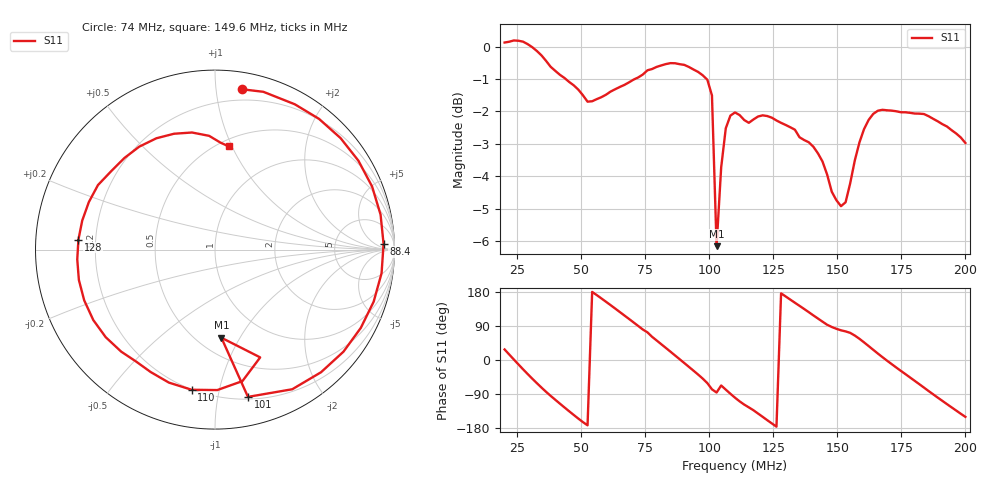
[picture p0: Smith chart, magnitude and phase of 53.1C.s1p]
# HZ S RI R 50
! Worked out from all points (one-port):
!   101 points, 20 MHz to 200 MHz, reference 50 ohm
!   lowest |S11| = -6.2 dB at 102.8 MHz (marker M1), VSWR 2.94, Z = 32.3 - j41.9 ohm
!   |S11| at or under -10 dB: nowhere
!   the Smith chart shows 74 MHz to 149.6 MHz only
!   S11 on the Smith chart (normalised r, x): 74 MHz: 0.12, +1.18; 88.4 MHz: 25, +13; 101 MHz: 0.22, -1.23; 110 MHz: 0.20, -0.83; 128 MHz: 0.13, +0.04; 149.6 MHz: 0.56, +0.97
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2e7  0.8978 0.4731
2.54e7  1 -0.2057
3.26e7  0.4755 -0.8625
3.8e7  -0.0761 -0.9278
4.34e7  -0.5165 -0.7305
4.88e7  -0.7755 -0.3683
5.42e7  -0.8238 0.00398
6.5e7  -0.5167 0.6957
7.4e7  0.1507 0.8932
8.12e7  0.6995 0.6213
8.84e7  0.9392 0.0316
9.56e7  0.7158 -0.5687
1.01e8  0.1837 -0.8206
1.028e8  0.0357 -0.491
1.046e8  0.2518 -0.6006
1.1e8  -0.1302 -0.7809
1.208e8  -0.6782 -0.3924
1.28e8  -0.7609 0.056
1.334e8  -0.6519 0.3597
1.424e8  -0.2281 0.6455
1.496e8  0.0772 0.5746
1.55e8  0.1942 0.5842
1.604e8  0.513 0.5416
1.676e8  0.7922 0.1048
1.784e8  0.5474 -0.5705
1.838e8  0.2341 -0.7516
1.892e8  -0.1227 -0.7572
2e8  -0.6157 -0.3542
